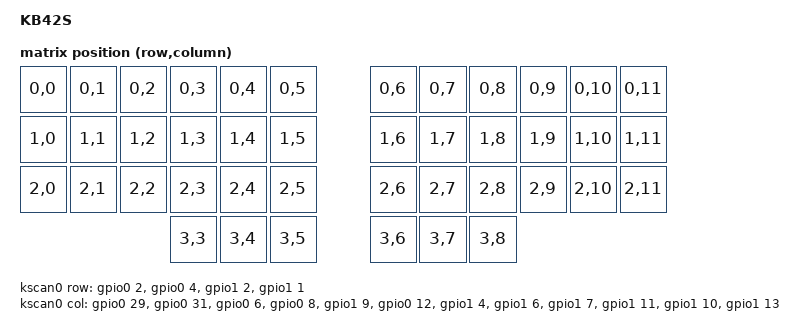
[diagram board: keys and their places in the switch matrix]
// Copyright (c) 2024 Nordic Semiconductor ASA
// SPDX-License-Identifier: Apache-2.0

/dts-v1/;
#include <nordic/nrf52840_qiaa.dtsi>
#include "kb42s-pinctrl.dtsi"

#include <dt-bindings/zmk/matrix_transform.h>
#include <zephyr/dt-bindings/input/input-event-codes.h>


/ {
	compatible = "kb42s";
    model = "KB42S";

	chosen {
		zmk,kscan = &kscan0;
		zmk,matrix-transform = &default_transform;
		zmk,battery = &fuel_gauge0;
        zephyr,display = &sharpdisp;
		zephyr,sram = &sram0;
		zephyr,flash = &flash0;
		zephyr,code-partition = &code_partition;
	};

	aliases {
		charging-pin = &pmic_charging;
		charging-err-pin = &pmic_err;
	};

	pmic {
		compatible = "gpio-keys";
		pmic_charging: pmic_charging {
			gpios = <&gpio1 0 (GPIO_PULL_UP | GPIO_ACTIVE_LOW)>;
			zephyr,code = <INPUT_KEY_0>;
		};
		pmic_err: pmic_err {
			gpios = <&gpio0 25 (GPIO_PULL_UP | GPIO_ACTIVE_LOW)>;
			zephyr,code = <INPUT_KEY_1>;
		};
	};

    default_transform: keymap_transform_0 {
        compatible = "zmk,matrix-transform";
        columns = <12>;
        rows = <4>;
        map = <
            RC(0,0) RC(0,1) RC(0,2) RC(0,3) RC(0,4) RC(0,5)  RC(0,6) RC(0,7) RC(0,8) RC(0,9) RC(0,10) RC(0,11)
            RC(1,0) RC(1,1) RC(1,2) RC(1,3) RC(1,4) RC(1,5)  RC(1,6) RC(1,7) RC(1,8) RC(1,9) RC(1,10) RC(1,11)
            RC(2,0) RC(2,1) RC(2,2) RC(2,3) RC(2,4) RC(2,5)  RC(2,6) RC(2,7) RC(2,8) RC(2,9) RC(2,10) RC(2,11)
                                    RC(3,3) RC(3,4) RC(3,5)  RC(3,6) RC(3,7) RC(3,8)
        >;
    };

	kscan0: kscan {
		compatible = "zmk,kscan-gpio-matrix";
        diode-direction = "col2row";
        // wakeup-source;
        row-gpios
        = <&gpio0 2 (GPIO_ACTIVE_HIGH | GPIO_PULL_DOWN)>
        , <&gpio0 4 (GPIO_ACTIVE_HIGH | GPIO_PULL_DOWN)>
        , <&gpio1 2 (GPIO_ACTIVE_HIGH | GPIO_PULL_DOWN)>
        , <&gpio1 1 (GPIO_ACTIVE_HIGH | GPIO_PULL_DOWN)>
        ;

        col-gpios
        = <&gpio0 29 GPIO_ACTIVE_HIGH> // 0
        , <&gpio0 31 GPIO_ACTIVE_HIGH> // 1
        , <&gpio0 6 GPIO_ACTIVE_HIGH> // 2
        , <&gpio0 8 GPIO_ACTIVE_HIGH> // 3
        , <&gpio1 9 GPIO_ACTIVE_HIGH> // 4
        , <&gpio0 12 GPIO_ACTIVE_HIGH> // 5
        , <&gpio1 4 GPIO_ACTIVE_HIGH> // 6
        , <&gpio1 6 GPIO_ACTIVE_HIGH> // 7
        , <&gpio1 7 GPIO_ACTIVE_HIGH> // 8
        , <&gpio1 11 GPIO_ACTIVE_HIGH> // 9
        , <&gpio1 10 GPIO_ACTIVE_HIGH> // 10
        , <&gpio1 13 GPIO_ACTIVE_HIGH> // 11
        ;
	};

    glidepoint_input {
        compatible = "zmk,input-listener";
        device = <&glidepoint>;

        xy-swap;
        y-invert;
        x-invert;
        scale-multiplier = <3> ;
    };
};

zephyr_udc0: &usbd {
    status = "okay";
};

&i2c1 {
	status = "okay";
	pinctrl-0 = <&i2c1_default>;
	pinctrl-1 = <&i2c1_sleep>;
	pinctrl-names = "default", "sleep";
	fuel_gauge0: max17262@36 {
		compatible = "maxim,max17262";
		reg = <0x36>;
		design-voltage = <4200>;
		desired-voltage = <4200>;
		desired-charging-current = <200>;
		design-cap = <550>;
		empty-voltage = <3300>;
		recovery-voltage = <3880>;
		charge-voltage = <4200>;
		status = "okay";
	};
};

&spi0 {
	compatible = "nordic,nrf-spi";
	status = "okay";
	pinctrl-0 = <&spi0_default>;
	pinctrl-1 = <&spi0_sleep>;
	pinctrl-names = "default", "sleep";
	cs-gpios = < &gpio0 24 GPIO_ACTIVE_HIGH >, < &gpio0 20 GPIO_ACTIVE_LOW >;

	sharpdisp: sharpdisp@0 {
		compatible = "sharp,ls0xx";
		reg = <0>;
		spi-max-frequency = <1000000>;
		width = <128>;
		height = <128>;
	};

    glidepoint: glidepoint@1 {
        compatible = "cirque,pinnacle";
        reg = <1>;
        spi-max-frequency = <1000000>;
        status = "okay";
        dr-gpios = <&gpio0 22 GPIO_ACTIVE_HIGH>;

        sensitivity = "2x";
        sleep;
    };
};

&flash0 {
    /*
     * For more information, see:
     * http://docs.zephyrproject.org/latest/devices/dts/flash_partitions.html
     */
    partitions {
        compatible = "fixed-partitions";
        #address-cells = <1>;
        #size-cells = <1>;

        sd_partition: partition@0 {
            reg = <0x00000000 0x00026000>;
        };
        code_partition: partition@26000 {
            reg = <0x00026000 0x000c6000>;
        };

        /*
         * The flash starting at 0x000ec000 and ending at
         * 0x000f3fff is reserved for use by the application.
         */

        /*
         * Storage partition will be used by FCB/LittleFS/NVS
         * if enabled.
         */
        storage_partition: partition@ec000 {
            reg = <0x000ec000 0x00008000>;
        };

        boot_partition: partition@f4000 {
            reg = <0x000f4000 0x0000c000>;
        };
    };
};


&ieee802154 {
	status = "okay";
};

&gpio0 {
	status = "okay";
};

&gpio1 {
	status = "okay";
};

&gpiote {
	status = "okay";
};

&uicr {
  nfct-pins-as-gpios;
};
